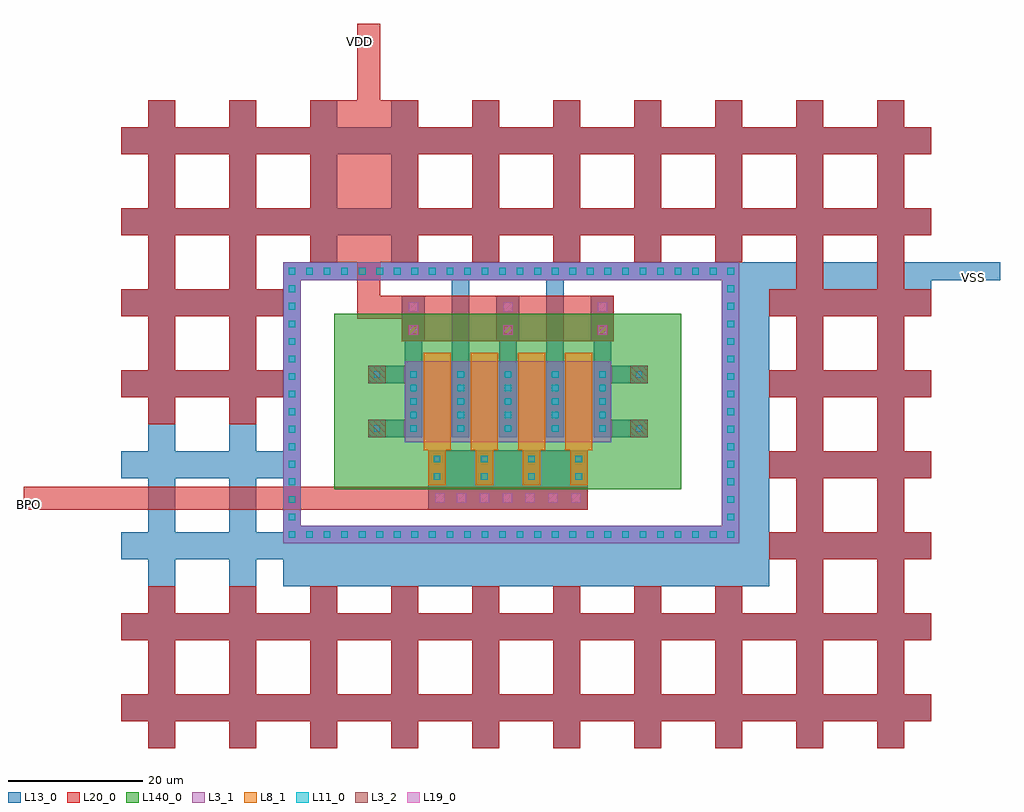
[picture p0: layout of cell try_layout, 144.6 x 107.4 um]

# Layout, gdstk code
import gdstk
lib = gdstk.Library(unit=1e-6, precision=1e-07)
def R(c, l, rs):  # rectangles x0, y0, x1, y1
    for r in rs: c.add(gdstk.rectangle(r[:2], r[2:], *l))
def A(c, l, x, y, w, h, nx, ny, dx, dy):  # array of equal rectangles
    R(c, l, [(x+i*dx, y+j*dy, x+i*dx+w, y+j*dy+h) for i in range(nx) for j in range(ny)])
L3_1 = (3, 1)
L3_2 = (3, 2)
L8_1 = (8, 1)
L11_0 = (11, 0)
L13_0 = (13, 0)
L19_0 = (19, 0)
L20_0 = (20, 0)
L140_0 = (140, 0)

fet_p = lib.new_cell('fet_p')
R(fet_p, L3_1, [(-15.3,-6,15.3,6)])
A(fet_p, L11_0, -14.5, -4.5, 1, 1, 5, 5, 7, 2)
A(fet_p, L13_0, -15.3, -5.3, 2.6, 10.6, 5, 1, 7, 0)
fet_p.add(gdstk.FlexPath([(3.5,-7.2),(3.5,7.2)], 4, ends="flush", simple_path=True, layer=8, datatype=1))  # L8_1
fet_p.add(gdstk.FlexPath([(-3.5,-7.2),(-3.5,7.2)], 4, ends="flush", simple_path=True, layer=8, datatype=1))  # L8_1
fet_p.add(gdstk.FlexPath([(10.5,-7.2),(10.5,7.2)], 4, ends="flush", simple_path=True, layer=8, datatype=1))  # L8_1
fet_p.add(gdstk.FlexPath([(-10.5,-7.2),(-10.5,7.2)], 4, ends="flush", simple_path=True, layer=8, datatype=1))  # L8_1

via_1 = lib.new_cell('via_1')
R(via_1, L13_0, [(-1.7,-1.7,1.7,1.7)])
R(via_1, L19_0, [(-0.7,-0.7,0.7,0.7)])
R(via_1, L20_0, [(-1.7,-1.7,1.7,1.7)])

cont_p = lib.new_cell('cont_p')
R(cont_p, L3_1, [(-1.3,-1.3,1.3,1.3)])
R(cont_p, L11_0, [(-0.5,-0.5,0.5,0.5)])
R(cont_p, L13_0, [(-1.3,-1.3,1.3,1.3)])

cont_n = lib.new_cell('cont_n')
R(cont_n, L3_2, [(-1.3,-1.3,1.3,1.3)])
R(cont_n, L11_0, [(-0.5,-0.5,0.5,0.5)])
R(cont_n, L13_0, [(-1.3,-1.3,1.3,1.3)])

cont_g = lib.new_cell('cont_g')
R(cont_g, L8_1, [(-1.3,-1.3,1.3,1.3)])
R(cont_g, L11_0, [(-0.5,-0.5,0.5,0.5)])
R(cont_g, L13_0, [(-1.3,-1.3,1.3,1.3)])

try_layout = lib.new_cell('try_layout')
A(try_layout, L13_0, -53.3, 48.6, 4, 12, 10, 2, 12, 12)
A(try_layout, L13_0, -57.3, 52.6, 12, 4, 10, 2, 12, 12)
A(try_layout, L13_0, -53.3, 72.6, 4, 12, 1, 4, 0, 12)
A(try_layout, L13_0, -41.3, 72.6, 4, 12, 1, 4, 0, 12)
A(try_layout, L13_0, 42.7, 72.6, 4, 12, 1, 4, 0, 12)
A(try_layout, L13_0, 54.7, 72.6, 4, 12, 1, 4, 0, 12)
A(try_layout, L13_0, -57.3, 76.6, 12, 4, 1, 4, 0, 12)
A(try_layout, L13_0, -45.3, 76.6, 12, 4, 1, 4, 0, 12)
A(try_layout, L13_0, 38.7, 76.6, 12, 4, 1, 4, 0, 12)
A(try_layout, L13_0, 50.7, 76.6, 12, 4, 1, 4, 0, 12)
A(try_layout, L13_0, -53.3, 120.6, 4, 12, 10, 2, 12, 12)
A(try_layout, L13_0, -57.3, 124.6, 12, 4, 10, 2, 12, 12)
R(try_layout, L13_0, [(-33.3,72.6,38.7,79), (34.3,79,38.7,120.6), (-11.8,87.4,11.8,87.6), (38.7,116.6,62.7,118)])
A(try_layout, L20_0, -53.3, 48.6, 4, 12, 10, 2, 12, 12)
A(try_layout, L20_0, -57.3, 52.6, 12, 4, 10, 2, 12, 12)
A(try_layout, L20_0, 42.7, 72.6, 4, 12, 1, 4, 0, 12)
A(try_layout, L20_0, 54.7, 72.6, 4, 12, 1, 4, 0, 12)
A(try_layout, L20_0, 38.7, 76.6, 12, 4, 1, 4, 0, 12)
A(try_layout, L20_0, 50.7, 76.6, 12, 4, 1, 4, 0, 12)
A(try_layout, L20_0, -53.3, 120.6, 4, 12, 10, 2, 12, 12)
A(try_layout, L20_0, -57.3, 124.6, 12, 4, 10, 2, 12, 12)
R(try_layout, L20_0, [(-53.3,96.6,-49.3,108.6), (-41.3,96.6,-37.3,108.6), (-57.3,100.6,-45.3,104.6), (-45.3,100.6,-33.3,104.6), (-53.3,108.6,-49.3,120.6), (-41.3,108.6,-37.3,120.6), (-57.3,112.6,-45.3,116.6), (-45.3,112.6,-33.3,116.6), (-25.3,120.6,-17.3,144.6)])
R(try_layout, L140_0, [(-25.7,87,25.7,113)])
try_layout.add(gdstk.FlexPath([(11.8,91.5),(-11.8,91.5)], 2.6, ends="flush", simple_path=True, layer=13, datatype=0))  # L13_0
try_layout.add(gdstk.FlexPath([(20.7,104),(15.3,104)], 2.6, ends="flush", simple_path=True, layer=13, datatype=0))  # L13_0
try_layout.add(gdstk.FlexPath([(-15.3,96),(-20.7,96)], 2.6, ends="flush", simple_path=True, layer=13, datatype=0))  # L13_0
try_layout.add(gdstk.FlexPath([(-15.3,104),(-20.7,104)], 2.6, ends="flush", simple_path=True, layer=13, datatype=0))  # L13_0
try_layout.add(gdstk.FlexPath([(11.8,88.9),(-11.8,88.9)], 2.6, ends="flush", simple_path=True, layer=13, datatype=0))  # L13_0
try_layout.add(gdstk.FlexPath([(-8.3,80.3),(8.3,80.3)], 2.6, ends="flush", simple_path=True, layer=13, datatype=0))  # L13_0
try_layout.add(gdstk.FlexPath([(8.3,119.3),(72.9,119.3)], 2.6, ends="flush", simple_path=True, layer=13, datatype=0))  # L13_0
try_layout.add(gdstk.FlexPath([(20.7,96),(15.3,96)], 2.6, ends="flush", simple_path=True, layer=13, datatype=0))  # L13_0
try_layout.add(gdstk.FlexPath([(14,105.3),(14,112.3)], 2.6, ends="flush", simple_path=True, layer=13, datatype=0))  # L13_0
try_layout.add(gdstk.FlexPath([(7,105.3),(7,119.3)], 2.6, ends="flush", simple_path=True, layer=13, datatype=0))  # L13_0
try_layout.add(gdstk.FlexPath([(-8.3,119.3),(8.3,119.3)], 2.6, ends="flush", simple_path=True, layer=13, datatype=0))  # L13_0
try_layout.add(gdstk.FlexPath([(-7,105.3),(-7,119.3)], 2.6, ends="flush", simple_path=True, layer=13, datatype=0))  # L13_0
try_layout.add(gdstk.FlexPath([(-14,105.3),(-14,112.3)], 2.6, ends="flush", simple_path=True, layer=13, datatype=0))  # L13_0
try_layout.add(gdstk.FlexPath([(0,105.3),(0,112.3)], 2.6, ends="flush", simple_path=True, layer=13, datatype=0))  # L13_0
try_layout.add(gdstk.FlexPath([(15.7,110.6),(-15.7,110.6)], 3.4, ends="flush", simple_path=True, layer=20, datatype=0))  # L20_0
try_layout.add(gdstk.FlexPath([(-11.8,85.7),(-71.7,85.7)], 3.4, ends="flush", simple_path=True, layer=20, datatype=0))  # L20_0
try_layout.add(gdstk.FlexPath([(-15.7,114),(-20.6,114),(-20.6,156)], 3.4, ends="flush", simple_path=True, layer=20, datatype=0))  # L20_0
try_layout.add(gdstk.FlexPath([(-15.7,114),(15.7,114)], 3.4, ends="flush", simple_path=True, layer=20, datatype=0))  # L20_0
try_layout.add(gdstk.Reference(fet_p, (0,100)))
try_layout.add(gdstk.Reference(via_1, (0,114)))
try_layout.add(gdstk.Reference(via_1, (0,110.6)))
try_layout.add(gdstk.Reference(via_1, (-0.1,85.7)))
try_layout.add(gdstk.Reference(via_1, (14,114)))
try_layout.add(gdstk.Reference(via_1, (14,110.6)))
try_layout.add(gdstk.Reference(cont_p, (1.8,119.3)))
try_layout.add(gdstk.Reference(cont_p, (4.4,119.3)))
try_layout.add(gdstk.Reference(cont_p, (7,119.3)))
try_layout.add(gdstk.Reference(cont_p, (9.6,119.3)))
try_layout.add(gdstk.Reference(cont_p, (12.2,119.3)))
try_layout.add(gdstk.Reference(cont_p, (14.8,119.3)))
try_layout.add(gdstk.Reference(cont_p, (17.4,119.3)))
try_layout.add(gdstk.Reference(cont_p, (20,119.3)))
try_layout.add(gdstk.Reference(cont_p, (22.6,119.3)))
try_layout.add(gdstk.Reference(cont_p, (25.2,119.3)))
try_layout.add(gdstk.Reference(cont_p, (27.8,119.3)))
try_layout.add(gdstk.Reference(cont_p, (30.4,119.3)))
try_layout.add(gdstk.Reference(cont_p, (33,119.3)))
try_layout.add(gdstk.Reference(cont_p, (33,116.7)))
try_layout.add(gdstk.Reference(cont_p, (33,114.1)))
try_layout.add(gdstk.Reference(cont_p, (33,111.5)))
try_layout.add(gdstk.Reference(cont_p, (33,108.9)))
try_layout.add(gdstk.Reference(cont_p, (33,106.3)))
try_layout.add(gdstk.Reference(cont_p, (33,103.7)))
try_layout.add(gdstk.Reference(cont_p, (33,101.1)))
try_layout.add(gdstk.Reference(cont_n, (19.4,104)))
try_layout.add(gdstk.Reference(cont_p, (-26.8,119.3)))
try_layout.add(gdstk.Reference(cont_p, (-24.2,119.3)))
try_layout.add(gdstk.Reference(cont_p, (-21.6,119.3)))
try_layout.add(gdstk.Reference(cont_p, (-19,119.3)))
try_layout.add(gdstk.Reference(cont_p, (-16.4,119.3)))
try_layout.add(gdstk.Reference(cont_p, (-13.8,119.3)))
try_layout.add(gdstk.Reference(cont_p, (-11.2,119.3)))
try_layout.add(gdstk.Reference(cont_p, (-8.6,119.3)))
try_layout.add(gdstk.Reference(cont_p, (-32,116.7)))
try_layout.add(gdstk.Reference(cont_p, (-32,114.1)))
try_layout.add(gdstk.Reference(cont_p, (-32,111.5)))
try_layout.add(gdstk.Reference(cont_p, (-32,108.9)))
try_layout.add(gdstk.Reference(cont_p, (-32,106.3)))
try_layout.add(gdstk.Reference(cont_p, (-32,103.7)))
try_layout.add(gdstk.Reference(cont_p, (-32,101.1)))
try_layout.add(gdstk.Reference(cont_p, (-6,119.3)))
try_layout.add(gdstk.Reference(cont_p, (-3.4,119.3)))
try_layout.add(gdstk.Reference(cont_p, (-0.8,119.3)))
try_layout.add(gdstk.Reference(via_1, (-14,110.6)))
try_layout.add(gdstk.Reference(via_1, (-14,114)))
try_layout.add(gdstk.Reference(cont_n, (-19.4,104)))
try_layout.add(gdstk.Reference(cont_p, (-32,119.3)))
try_layout.add(gdstk.Reference(cont_p, (-29.4,119.3)))
try_layout.add(gdstk.Reference(cont_p, (-32,90.7)))
try_layout.add(gdstk.Reference(cont_p, (-32,88.1)))
try_layout.add(gdstk.Reference(cont_p, (-32,85.5)))
try_layout.add(gdstk.Reference(cont_p, (-32,82.9)))
try_layout.add(gdstk.Reference(cont_p, (-32,80.3)))
try_layout.add(gdstk.Reference(cont_p, (-29.4,80.3)))
try_layout.add(gdstk.Reference(cont_p, (-26.8,80.3)))
try_layout.add(gdstk.Reference(cont_p, (-24.2,80.3)))
try_layout.add(gdstk.Reference(cont_p, (-21.6,80.3)))
try_layout.add(gdstk.Reference(cont_n, (-19.4,96)))
try_layout.add(gdstk.Reference(cont_g, (-3.5,91.5)))
try_layout.add(gdstk.Reference(cont_g, (-10.5,88.9)))
try_layout.add(gdstk.Reference(cont_g, (-3.5,88.9)))
try_layout.add(gdstk.Reference(cont_g, (-10.5,91.5)))
try_layout.add(gdstk.Reference(cont_p, (-32,98.5)))
try_layout.add(gdstk.Reference(cont_p, (-32,95.9)))
try_layout.add(gdstk.Reference(cont_p, (-19,80.3)))
try_layout.add(gdstk.Reference(cont_p, (-16.4,80.3)))
try_layout.add(gdstk.Reference(cont_p, (-13.8,80.3)))
try_layout.add(gdstk.Reference(cont_p, (-11.2,80.3)))
try_layout.add(gdstk.Reference(cont_p, (-8.6,80.3)))
try_layout.add(gdstk.Reference(cont_p, (-6,80.3)))
try_layout.add(gdstk.Reference(cont_p, (-3.4,80.3)))
try_layout.add(gdstk.Reference(cont_p, (-0.8,80.3)))
try_layout.add(gdstk.Reference(via_1, (-10.1,85.7)))
try_layout.add(gdstk.Reference(via_1, (-6.9,85.7)))
try_layout.add(gdstk.Reference(via_1, (-3.5,85.7)))
try_layout.add(gdstk.Reference(cont_p, (-32,93.3)))
try_layout.add(gdstk.Reference(cont_p, (33,80.3)))
try_layout.add(gdstk.Reference(cont_n, (19.4,96)))
try_layout.add(gdstk.Reference(cont_g, (3.5,91.5)))
try_layout.add(gdstk.Reference(cont_g, (10.5,91.5)))
try_layout.add(gdstk.Reference(cont_g, (3.5,88.9)))
try_layout.add(gdstk.Reference(cont_g, (10.5,88.9)))
try_layout.add(gdstk.Reference(cont_p, (33,98.5)))
try_layout.add(gdstk.Reference(cont_p, (33,95.9)))
try_layout.add(gdstk.Reference(cont_p, (33,93.3)))
try_layout.add(gdstk.Reference(cont_p, (1.8,80.3)))
try_layout.add(gdstk.Reference(cont_p, (4.4,80.3)))
try_layout.add(gdstk.Reference(cont_p, (7,80.3)))
try_layout.add(gdstk.Reference(cont_p, (9.6,80.3)))
try_layout.add(gdstk.Reference(cont_p, (12.2,80.3)))
try_layout.add(gdstk.Reference(cont_p, (14.8,80.3)))
try_layout.add(gdstk.Reference(cont_p, (17.4,80.3)))
try_layout.add(gdstk.Reference(cont_p, (20,80.3)))
try_layout.add(gdstk.Reference(cont_p, (22.6,80.3)))
try_layout.add(gdstk.Reference(cont_p, (25.2,80.3)))
try_layout.add(gdstk.Reference(cont_p, (27.8,80.3)))
try_layout.add(gdstk.Reference(cont_p, (30.4,80.3)))
try_layout.add(gdstk.Reference(cont_p, (33,90.7)))
try_layout.add(gdstk.Reference(cont_p, (33,88.1)))
try_layout.add(gdstk.Reference(cont_p, (33,85.5)))
try_layout.add(gdstk.Reference(cont_p, (33,82.9)))
try_layout.add(gdstk.Reference(via_1, (3.3,85.7)))
try_layout.add(gdstk.Reference(via_1, (6.7,85.7)))
try_layout.add(gdstk.Reference(via_1, (10.1,85.7)))
try_layout.add(gdstk.Label('BPO', (-71.1,84.7), layer=49, texttype=0))
try_layout.add(gdstk.Label('VDD', (-22,153.3), layer=49, texttype=0))
try_layout.add(gdstk.Label('VSS', (68.9,118.4), layer=48, texttype=0))

lib.write_gds('try_layout.gds')
